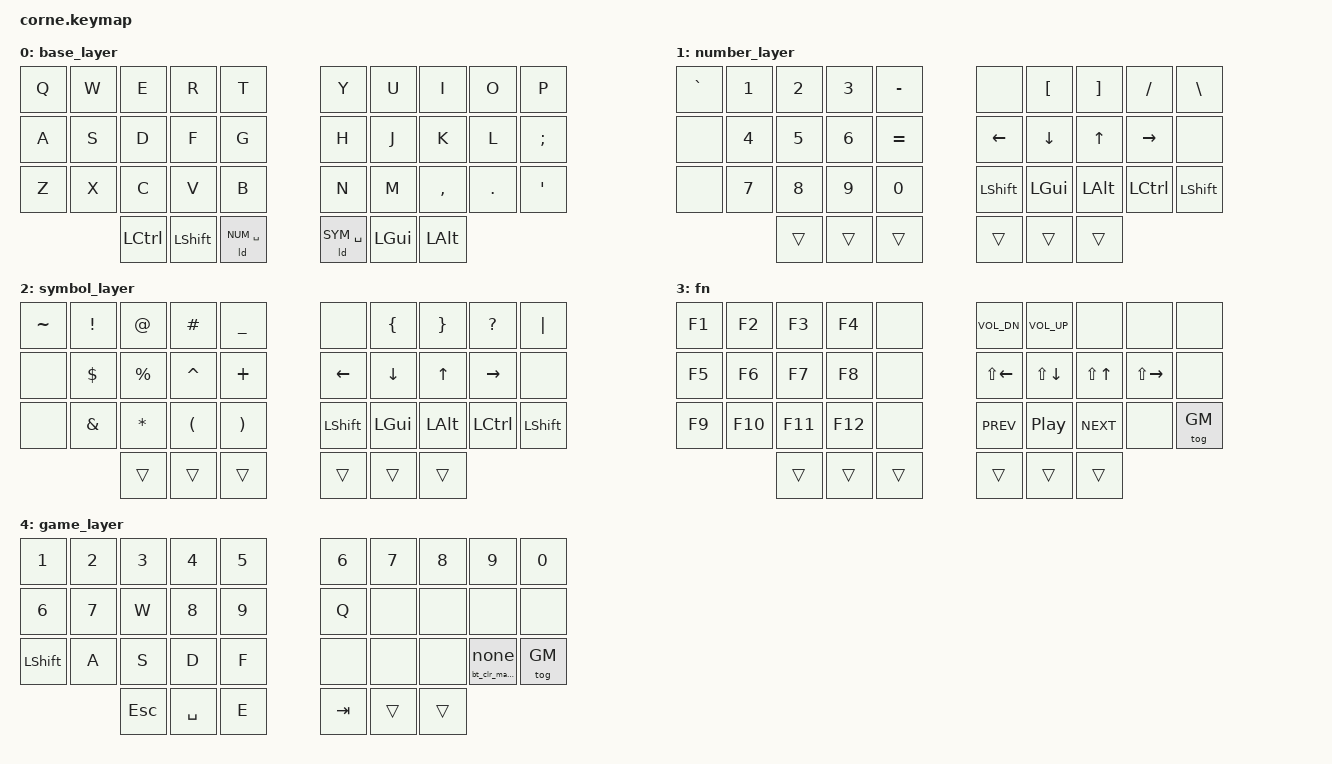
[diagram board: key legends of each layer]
#include <dt-bindings/zmk/keys.h>
#include <dt-bindings/zmk/outputs.h>
#include <dt-bindings/zmk/bt.h>

#include <behaviors.dtsi>

#include "zmk-helpers/helper.h"
#include "keys/36.h"

// layers
#define BASE 0
#define NUM 1
#define SYM 2
#define FN 3
#define GM 4

#define ___      &trans
#define _x_      &none

&sk {
    quick-release;
};

ZMK_BEHAVIOR(hd, hold_tap,
    flavor = "hold-preferred";
    tapping-term-ms = <150>;
    quick-tap-ms = <150>;
    require-prior-idle-ms = <100>;
    bindings = <&kp>, <&kp>;
)

ZMK_BEHAVIOR(ld, hold_tap,
    flavor = "tap-preferred";
    tapping-term-ms = <150>;
    quick-tap-ms = <150>;
    require-prior-idle-ms = <100>;
    bindings = <&mo>, <&kp>;
)

/ {
  chosen {
    zmk,matrix_transform = &five_column_transform;
  };
  macros {
        bt_clr_macro: bt_clr_macro {
            compatible = "zmk,behavior-macro";
            #binding-cells = <0>;
            bindings = <&bt BT_CLR>;
        };
    };
  behaviors {
        btclr_hold: btclr_hold {
            compatible = "zmk,behavior-hold-tap";
            #binding-cells = <2>;
            flavor = "hold-preferred";
            tapping-term-ms = <2000>;
            quick-tap-ms = <0>;
            bindings = <&bt_clr_macro>, <&none>;
        };
    };
  combos {
    compatible = "zmk,combos";
    combo_fn {
      timeout-ms = <50>;
      key-positions = <32 33>;
      bindings = <&mo FN>;
    };
    combo_esc {
      timeout-ms = <50>;
      key-positions = <1 2>;
      bindings = <&kp ESC>;
      layers = <BASE>;
      require-prior-idle-ms = <50>;
    };
    combo_tab {
      timeout-ms = <50>;
      key-positions = <21 22>;
      bindings = <&kp TAB>;
      layers = <BASE>;
      require-prior-idle-ms = <50>;
    };
    combo_bspc {
      timeout-ms = <50>;
      key-positions = <7 8>;
      bindings = <&kp BSPC>;
      layers = <BASE>;
      require-prior-idle-ms = <50>;
    };
    combo_ent {
      timeout-ms = <50>;
      key-positions = <27 28>;
      bindings = <&kp ENTER>;
      layers = <BASE>;
      require-prior-idle-ms = <50>;
    };
  };
};

/ {
  keymap {
    compatible = "zmk,keymap";
    base_layer {
      bindings = <
              &kp Q       &kp W       &kp E       &kp R       &kp T           &kp Y       &kp U      &kp I       &kp O       &kp P
              &kp A       &kp S       &kp D       &kp F       &kp G           &kp H       &kp J      &kp K       &kp L       &kp SEMI
              &kp Z       &kp X       &kp C       &kp V       &kp B           &kp N       &kp M    &kp COMMA     &kp DOT    &kp SQT
                                &kp LCTRL   &kp LSHFT   &ld NUM SPACE    &ld SYM SPACE     &kp LGUI &kp LALT
      >;
    };
    number_layer {
      bindings = <
              &kp GRAVE   &kp N1      &kp N2      &kp N3    &kp MINUS         _x_       &kp LBKT    &kp RBKT    &kp FSLH    &kp BSLH
                _x_       &kp N4      &kp N5      &kp N6    &kp EQUAL         &kp LEFT  &kp DOWN    &kp UP      &kp RIGHT _x_
                _x_       &kp N7      &kp N8      &kp N9    &kp N0            &kp LSHFT &kp LGUI    &kp LALT    &kp LCTRL   &kp LSHFT
                                      ___         ___       ___               ___      ___    ___
      >;
    };
    symbol_layer {
      bindings = <
              &kp TILDE   &kp EXCL    &kp AT      &kp HASH   &kp UNDER         _x_       &kp LBRC    &kp RBRC    &kp QMARK   &kp PIPE
                _x_       &kp DLLR    &kp PRCNT   &kp CARET   &kp PLUS         &kp LEFT  &kp DOWN    &kp UP      &kp RIGHT _x_
                _x_       &kp AMPS    &kp STAR    &kp LPAR    &kp RPAR         &kp LSHFT &kp LGUI    &kp LALT    &kp LCTRL   &kp LSHFT
                                      ___         ___       ___               ___      ___    ___
      >;
    };
    fn {
      bindings = <
              &kp F1      &kp F2      &kp F3      &kp F4        _x_       &kp C_VOL_DN &kp C_VOL_UP    _x_         _x_         _x_
              &kp F5      &kp F6      &kp F7      &kp F8        _x_          &kp LS(LEFT)   &kp LS(DOWN)    &kp LS(UP) &kp LS(RIGHT)      _x_
              &kp F9      &kp F10     &kp F11     &kp F12       _x_        &kp C_PREV   &kp C_PP   &kp C_NEXT      _x_       &tog GM
                                      ___         ___       ___               ___      ___    ___
      >;
    };
    game_layer {
      bindings = <
               &kp N1      &kp N2      &kp N3      &kp N4      &kp N5         &kp N6      &kp N7      &kp N8      &kp N9      &kp N0
               &kp N6      &kp N7      &kp W       &kp N8      &kp N9         &kp Q        _x_         _x_         _x_         _x_
            &kp LSHIFT     &kp A       &kp S       &kp D       &kp F           _x_         _x_         _x_   &btclr_hold 0 0  &tog GM
                                      &kp ESC    &kp SPACE     &kp E         &kp TAB       ___         ___
      >;
    };
  };
};
